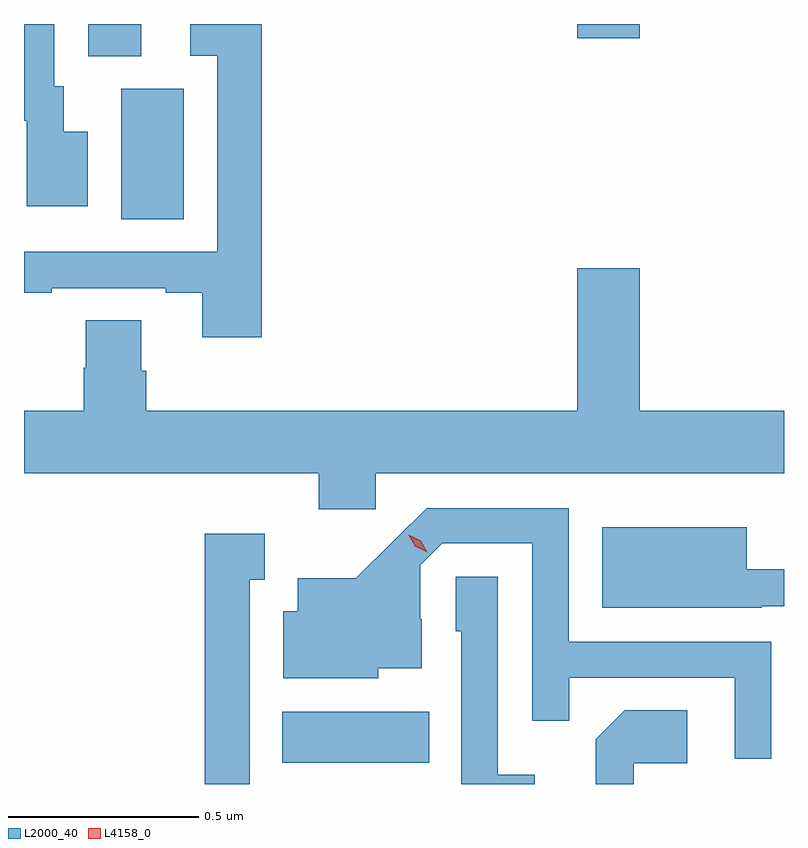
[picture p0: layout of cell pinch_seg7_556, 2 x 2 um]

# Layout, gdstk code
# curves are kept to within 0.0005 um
import gdstk
lib = gdstk.Library(unit=1e-6, precision=1e-09)
def R(c, l, rs):  # rectangles x0, y0, x1, y1
    for r in rs: c.add(gdstk.rectangle(r[:2], r[2:], *l))
def P(c, l, *ps):  # polygons
    for p in ps: c.add(gdstk.Polygon(p, *l))
L2000_40 = (2000, 40)
L4158_0 = (4158, 0)

pinch_seg7_556 = lib.new_cell('pinch_seg7_556')
R(pinch_seg7_556, L2000_40, [(116.279,1062.458,116.666,1062.592), (115.856,1063.888,116.02,1064.232), (115.769,1064.317,115.909,1064.402), (117.056,1064.364,117.22,1064.402)])
P(pinch_seg7_556, L2000_40, [(116.225,1064.402),(116.037,1064.402),(116.037,1064.319),(116.109,1064.319),(116.109,1063.803),(115.6,1063.803),(115.6,1063.695),(115.673,1063.695),(115.673,1063.707),(115.973,1063.707),(115.973,1063.695),(116.069,1063.695),(116.069,1063.578),(116.225,1063.578)],
  [(115.768,1064.119),(115.705,1064.119),(115.705,1064.238),(115.68,1064.238),(115.68,1064.402),(115.6,1064.402),(115.6,1064.148),(115.607,1064.148),(115.607,1063.923),(115.768,1063.923)],
  [(116.526,1063.22),(117.6,1063.22),(117.6,1063.384),(117.22,1063.384),(117.22,1063.759),(117.056,1063.759),(117.056,1063.384),(115.922,1063.384),(115.922,1063.49),(115.909,1063.49),(115.909,1063.622),(115.762,1063.622),(115.762,1063.497),(115.757,1063.497),(115.757,1063.384),(115.6,1063.384),(115.6,1063.22),(116.375,1063.22),(116.375,1063.125),(116.526,1063.125)],
  [(117.567,1062.777),(117.033,1062.777),(117.033,1063.128),(116.66,1063.128),(116.473,1062.943),(116.321,1062.943),(116.321,1062.856),(116.282,1062.856),(116.282,1062.68),(116.532,1062.68),(116.532,1062.707),(116.647,1062.707),(116.647,1062.836),(116.643,1062.836),(116.643,1062.978),(116.7,1063.035),(116.937,1063.035),(116.937,1062.568),(117.035,1062.568),(117.035,1062.681),(117.471,1062.681),(117.471,1062.468),(117.567,1062.468)],
  [(117.542,1062.87),(117.6,1062.87),(117.6,1062.967),(117.502,1062.967),(117.502,1063.078),(117.122,1063.078),(117.122,1062.866),(117.542,1062.866)],
  [(116.194,1062.939),(116.233,1062.939),(116.233,1063.06),(116.076,1063.06),(116.076,1062.402),(116.194,1062.402)],
  [(116.944,1062.427),(116.847,1062.427),(116.847,1062.947),(116.736,1062.947),(116.736,1062.804),(116.751,1062.804),(116.751,1062.402),(116.944,1062.402)],
  [(117.204,1062.456),(117.346,1062.456),(117.346,1062.596),(117.181,1062.596),(117.105,1062.52),(117.105,1062.402),(117.204,1062.402)])
P(pinch_seg7_556, L4158_0, [(116.661,1063.012),(116.63,1063.028),(116.613,1063.057),(116.613,1063.058),(116.613,1063.058),(116.644,1063.042),(116.661,1063.012),(116.661,1063.012)])

lib.write_gds('pinch_seg7_556.gds')
